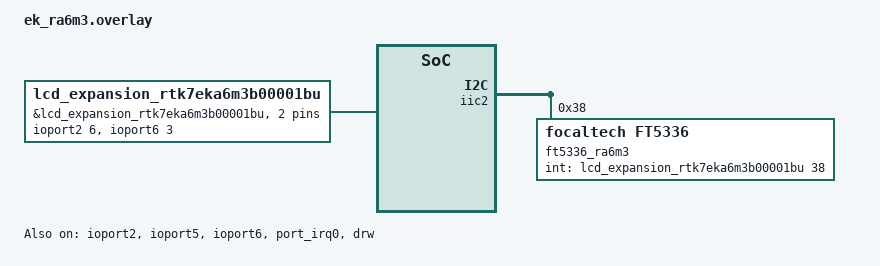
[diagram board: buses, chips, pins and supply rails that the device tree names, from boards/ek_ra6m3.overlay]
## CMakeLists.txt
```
# Copyright (c) 2026 LVGL
# SPDX-License-Identifier: Apache-2.0

cmake_minimum_required(VERSION 3.20.0)

# Per-board defaults: boards/<board>.cmake sets variables (e.g. SHIELD) not already provided.
# Normalize the raw BOARD spec by stripping @<revision> and replacing / with _ to match the
# naming convention used for boards/<board>.conf and boards/<board>.overlay.
string(REGEX REPLACE "@[^/]*" "" _board_norm "${BOARD}")
string(REPLACE "/" "_" _board_norm "${_board_norm}")
include("${CMAKE_CURRENT_SOURCE_DIR}/boards/${_board_norm}.cmake" OPTIONAL)
unset(_board_norm)

# Board overlay loading order:
#   1. boards/pre-shield-overlays/<board>.overlay — via BOARD_EXTENSION_DIRS, applied before shield overlays
#   2. shield overlay                              — applied by west (--shield flag)
#   3. boards/<board>.overlay                      — auto-discovered by Zephyr, applied after shield overlays
list(APPEND BOARD_EXTENSION_DIRS ${CMAKE_CURRENT_SOURCE_DIR}/boards/pre-shield-overlays)

find_package(Zephyr REQUIRED HINTS $ENV{ZEPHYR_BASE})
project(lvgl_application)

set(LVGL_DIR ${ZEPHYR_LVGL_MODULE_DIR})

FILE(GLOB app_sources src/*.c)
target_sources(app PRIVATE
    ${app_sources}
    ${LVGL_DIR}/demos/lv_demos.c
)

target_sources_ifdef(CONFIG_LV_USE_TEST_SCREENSHOT_COMPARE app PRIVATE tests/screenshot.c)

# lv_fs_posix.c uses DT_DIR (a GNU/BSD extension). Zephyr sets
# -D_POSIX_C_SOURCE=200809L which hides it; _GNU_SOURCE restores it.
zephyr_compile_definitions_ifdef(CONFIG_LV_USE_FS_POSIX _GNU_SOURCE)

target_include_directories(app PRIVATE
    ${LVGL_DIR}/demos/
)

target_sources_ifdef(CONFIG_LV_USE_DEMO_WIDGETS app PRIVATE
    ${LVGL_DIR}/demos/widgets/assets/img_clothes.c
    ${LVGL_DIR}/demos/widgets/assets/img_demo_widgets_avatar.c
    ${LVGL_DIR}/demos/widgets/assets/img_demo_widgets_needle.c
    ${LVGL_DIR}/demos/widgets/assets/img_lvgl_logo.c
    ${LVGL_DIR}/demos/widgets/lv_demo_widgets.c
    ${LVGL_DIR}/demos/widgets/lv_demo_widgets_analytics.c
    ${LVGL_DIR}/demos/widgets/lv_demo_widgets_components.c
    ${LVGL_DIR}/demos/widgets/lv_demo_widgets_profile.c
    ${LVGL_DIR}/demos/widgets/lv_demo_widgets_shop.c
)
```

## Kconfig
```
# Copyright (c) 2026 LVGL
# SPDX-License-Identifier: Apache-2.0

mainmenu "LVGL Zephyr starter application"

config APP_INTRO_DURATION_MS
	int "Intro screen duration in milliseconds"
	default 5000

source "Kconfig.zephyr"
```

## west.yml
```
# Copyright (c) 2026 LVGL
# SPDX-License-Identifier: Apache-2.0
#
# West manifest for the LVGL Zephyr starter project.
#
# This repository is both the west manifest repository and the application:
# cloning it and running `west init -l` + `west update` fetches Zephyr and
# every module needed to build. Everything auto-downloaded is kept under
# deps/, cleanly separated from the code you edit:
#
#   workspace/
#   ├── lv_zephyr/        # this repository (the application) — your code
#   └── deps/             # auto-downloaded by west — don't edit
#       ├── zephyr/       # Zephyr RTOS
#       ├── modules/      # LVGL and vendor HALs
#       └── bootloader/   # MCUboot (used by ESP32 targets)
#
# See README.md for the step-by-step instructions.

manifest:
  version: 0.13

  remotes:
    - name: zephyrproject-rtos
      url-base: https://github.com/zephyrproject-rtos

  projects:
    - name: zephyr
      remote: zephyrproject-rtos
      revision: v4.4.0
      import:
        # Keep Zephyr and all modules grouped under deps/ in the workspace.
        path-prefix: deps
        # Only fetch the modules needed by the supported boards. Add more
        # entries here if you target a board whose HAL is not in this list
        # (module names are listed in deps/zephyr/west.yml).
        name-allowlist:
          - lvgl
          - cmsis            # required by most Arm-based HALs
          - cmsis_6
          - hal_espressif    # M5Stack Core2 (ESP32)
          - hal_nxp          # FRDM-MCXN947, MIMXRT1170-EVK
          - hal_renesas      # EK-RA8D1
          - hal_stm32        # STM32U5G9J-DK2
          - mbedtls          # required by MCUboot (ESP32 builds)
          - mcuboot          # ESP32 builds boot via MCUboot (sysbuild)

  self:
    path: lv_zephyr
```

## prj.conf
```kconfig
CONFIG_MAIN_STACK_SIZE=16384
CONFIG_LOG=y
CONFIG_SHELL=y

CONFIG_LVGL=y
CONFIG_LV_Z_MEM_POOL_SIZE=49152
CONFIG_LV_Z_SHELL=y
CONFIG_LV_USE_MONKEY=y

CONFIG_DISPLAY=y
CONFIG_INPUT=y
CONFIG_LV_Z_POINTER_INPUT_MSGQ_COUNT=20

CONFIG_LV_USE_SYSMON=y
CONFIG_LV_USE_PERF_MONITOR=y

CONFIG_LV_FONT_MONTSERRAT_12=y
CONFIG_LV_FONT_MONTSERRAT_14=y
CONFIG_LV_FONT_MONTSERRAT_16=y
CONFIG_LV_FONT_MONTSERRAT_18=y
CONFIG_LV_FONT_MONTSERRAT_24=y
CONFIG_LV_USE_DEMO_WIDGETS=y

# Benchmark Demo
CONFIG_LV_USE_FONT_COMPRESSED=y
```

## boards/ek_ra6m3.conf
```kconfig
CONFIG_LV_USE_DRAW_DAVE2D=y
CONFIG_LV_Z_MEM_POOL_SIZE=65536
CONFIG_LV_DRAW_LAYER_SIMPLE_BUF_SIZE=32768
CONFIG_LV_ATTRIBUTE_MEM_ALIGN_SIZE=64
CONFIG_DMA=y

# RA6M3: SDRAM bus pins (P101-P107, P111-P115, P301-P303, P608-P610) overlap
# with GLCDC LCD_DATA pins. SDRAM and GLCDC cannot be active simultaneously.
# Frame buffer and LVGL VDB stay in internal SRAM (640KB total).
#
# Memory budget: 1×255 KB (FB) + 2×26 KB (VDB) + ~101 KB (other) ≈ 408 KB
#   (frees ≈ 215 KB vs the previous FB_NUM=0 double-VDB setup).
#
# FB_NUM=1: one 255 KB driver-managed framebuffer that GLCDC always reads from.
#   Enables partial writes so LVGL can update individual dirty regions without
#   redrawing the full screen.  No vsync buffer-swap in steady state; the GLCDC
#   reads fb_background in-place while the flush thread writes to it — possible
#   tearing on large rapid updates, acceptable for mostly-static UIs.
# FULL_REFRESH=n + VDB_SIZE=10: LVGL only redraws dirty regions (at most ~27
#   rows per strip).  Each strip is blitted to the framebuffer via
#   display_write().  VDB_SIZE strictly < 100 ensures every write is partial
#   (height < 272) so the full-screen branch in the driver is never taken, the
#   GLCDC framebuffer pointer never changes, and fb_background stays live.
# DOUBLE_VDB: two small VDBs let the flush thread blit one strip while LVGL
#   renders the next in parallel.
# VDB_ALIGN=64: LVGL draw operations may use DMA; 64-byte source alignment is
#   required.  Note: fb_background is only __aligned(8) in the driver — if the
#   linker does not place it at a 64-byte boundary the image will shift
#   horizontally by (fb_background % 64) / 2 pixels.  Verify with:
#     nm -S build/zephyr/zephyr.elf | grep fb_background
CONFIG_RENESAS_RA_GLCDC_FB_NUM=1
CONFIG_LV_COLOR_DEPTH_16=y
CONFIG_LV_Z_FULL_REFRESH=n
CONFIG_LV_Z_VDB_SIZE=10
CONFIG_LV_Z_DOUBLE_VDB=y
CONFIG_LV_Z_VDB_ALIGN=64

# Enable real CPU-load measurement so lv_os_get_idle_percent() returns actual
# idle% instead of always 0.  Without this, the LVGL sysmon calls
# lv_os_get_idle_percent() which unconditionally returns 0 → CPU always 100%.
# CPU_LOAD selects TRACING, resolved to the null backend (tracing_none.c):
# it times idle-thread entry/exit via k_cycle_get_32() — negligible overhead.
CONFIG_CPU_LOAD=y

# Debug console via J-Link RTT (Segger module required).
# Remove or set UART_CONSOLE=y / RTT_CONSOLE=n to switch back to UART.
CONFIG_USE_SEGGER_RTT=y
CONFIG_RTT_CONSOLE=y
CONFIG_UART_CONSOLE=n
```

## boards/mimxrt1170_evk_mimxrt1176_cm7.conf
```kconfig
CONFIG_DMA=y
CONFIG_MCUX_ELCDIF_PXP=y
```

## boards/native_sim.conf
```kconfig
# Copyright (c) 2026 LVGL
# SPDX-License-Identifier: Apache-2.0

CONFIG_LV_COLOR_DEPTH_32=y
```

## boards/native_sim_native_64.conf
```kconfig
# Copyright (c) 2026 LVGL
# SPDX-License-Identifier: Apache-2.0

CONFIG_LV_COLOR_DEPTH_32=y
CONFIG_LV_Z_MEM_POOL_SIZE=81920
```

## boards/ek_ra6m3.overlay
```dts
/*
 * Copyright (c) 2026 LVGL
 * SPDX-License-Identifier: Apache-2.0
 *
 * Board-level DTC overlay for EK-RA6M3 + RTK7EKA6M3B00001BU LCD shield.
 * Zephyr auto-discovers boards/<board>.overlay and applies it after shield
 * overlays, so this file can safely override shield settings and reference
 * nodes the shield defines (lcd_expansion_rtk7eka6m3b00001bu, etc.).
 *
 * Pin assignments:
 *   P206 (ioport2 pin 6) — DISP_INT  (FT5336 interrupt, input pull-up)
 *   P603 (ioport6 pin 3) — DISP_BLEN (backlight enable, output)
 *
 * GLCDC data/control pins (16-bit RGB565 interface):
 *   CLK:    P101   TCON0: P102   TCON1: P103   TCON2: P104
 *   DATA00-07: P106 P107 P600 P601 P602 P610 P609 P608
 *   DATA08-15: P115 P114 P113 P112 P111 P301 P302 P303
 *
 * Touch controller I2C: the FT5336 is on IIC2 (P512/P511), which the board DTS
 * already configures at 400 kHz.  The shield assumes IIC1, so IIC1 and its
 * ft5336 child are explicitly disabled; a new ft5336 node lives under IIC2.
 *
 * P206 maps to port_irq0 on RA6M3; interrupt slot 87 is assigned here.
 */

#include <zephyr/dt-bindings/display/panel.h>

&pinctrl {
	glcdc_default: glcdc_default {
		/* PORT1 and PORT3 data/control pins: CLK, TCON, DATA08-15, DATA00-01 */
		group1 {
			psels = <RA_PSEL(RA_PSEL_GLCDC, 1, 1)>,   /* LCDC_CLK   P101 */
				<RA_PSEL(RA_PSEL_GLCDC, 1, 2)>,   /* LCDC_TCON0 P102 */
				<RA_PSEL(RA_PSEL_GLCDC, 1, 3)>,   /* LCDC_TCON1 P103 */
				<RA_PSEL(RA_PSEL_GLCDC, 1, 4)>,   /* LCDC_TCON2 P104 */
				<RA_PSEL(RA_PSEL_GLCDC, 1, 6)>,   /* LCDC_DATA00 P106 */
				<RA_PSEL(RA_PSEL_GLCDC, 1, 7)>,   /* LCDC_DATA01 P107 */
				<RA_PSEL(RA_PSEL_GLCDC, 1, 15)>,  /* LCDC_DATA08 P115 */
				<RA_PSEL(RA_PSEL_GLCDC, 1, 14)>,  /* LCDC_DATA09 P114 */
				<RA_PSEL(RA_PSEL_GLCDC, 1, 13)>,  /* LCDC_DATA10 P113 */
				<RA_PSEL(RA_PSEL_GLCDC, 1, 12)>,  /* LCDC_DATA11 P112 */
				<RA_PSEL(RA_PSEL_GLCDC, 1, 11)>,  /* LCDC_DATA12 P111 */
				<RA_PSEL(RA_PSEL_GLCDC, 3, 1)>,   /* LCDC_DATA13 P301 */
				<RA_PSEL(RA_PSEL_GLCDC, 3, 2)>,   /* LCDC_DATA14 P302 */
				<RA_PSEL(RA_PSEL_GLCDC, 3, 3)>;   /* LCDC_DATA15 P303 */
			drive-strength = "high";
		};
		/* PORT6 data pins: DATA02-07 (blue and green LSBs) */
		group2 {
			psels = <RA_PSEL(RA_PSEL_GLCDC, 6, 0)>,   /* LCDC_DATA02 P600 */
				<RA_PSEL(RA_PSEL_GLCDC, 6, 1)>,   /* LCDC_DATA03 P601 */
				<RA_PSEL(RA_PSEL_GLCDC, 6, 2)>,   /* LCDC_DATA04 P602 */
				<RA_PSEL(RA_PSEL_GLCDC, 6, 10)>,  /* LCDC_DATA05 P610 */
				<RA_PSEL(RA_PSEL_GLCDC, 6, 9)>,   /* LCDC_DATA06 P609 */
				<RA_PSEL(RA_PSEL_GLCDC, 6, 8)>;   /* LCDC_DATA07 P608 */
			drive-strength = "high";
		};
	};
};

&zephyr_lcdif {
	pinctrl-0 = <&glcdc_default>;
	pinctrl-names = "default";
	output-pin-hsync = "TCON_PIN_1";
	output-pin-vsync = "TCON_PIN_0";
	output-pin-de = "TCON_PIN_2";
	/*
	 * EK-RA6M3 routes only DATA00-DATA15 (16 lines, RGB565).
	 * Override the shield's RGB888 setting; output format must match
	 * the physical wiring or the red channel (DATA16-23) is unconnected.
	 *
	 * Pixel clock: PLL = 240 MHz, output-clock-divisor = 32
	 * → 240/32 = 7.5 MHz → 525×316 ≈ 45 fps on 480×272 (panel spec: 5–12 MHz typ 9 MHz).
	 */
	output-pixel-format = <PANEL_PIXEL_FORMAT_RGB_565>;
	output-clock-divisor = <32>;
	/*
	 * Place the internal framebuffer at a 64-byte aligned SRAM address via
	 * the ext-ram hook.  The GLCDC FLM2 register masks the low 6 address
	 * bits, so fb_background0 must start on a 64-byte boundary or the
	 * display wraps horizontally by (addr % 64) / 2 pixels.
	 * 0x20040400 = SRAM_end(0x20080000) - FB_size(0x3FC00), mod 64 = 0.
	 * The FRAME_BUFFER_SECTION macro places fb_background0 as the sole item
	 * in the GLCDC_FB linker section, which starts at 0x20040400.
	 */
	ext-ram = <&fb_region>;
};

&ioport2 {
	status = "okay";
};

&ioport5 {
	status = "okay";
};

&ioport6 {
	status = "okay";
};

&lcd_expansion_rtk7eka6m3b00001bu {
	#gpio-cells = <2>;
	gpio-map-mask = <0xffffffff 0xffffffc0>;
	gpio-map-pass-thru = <0 0x3f>;
	gpio-map = <38 0 &ioport2 6 0>,  /* DISP_INT  P206 */
		   <39 0 &ioport6 3 0>;  /* DISP_BLEN P603 */
};

/* The shield enables IIC1 and places ft5336 there, but on EK-RA6M3 the LCD
 * expansion connector's I2C lines are on P512/P511 — which is IIC2.
 * IIC2 is already configured in the board DTS (ek_ra6m3.dts).
 * Disable IIC1 and its ft5336 child; add a new ft5336 node under IIC2. */
&iic1 {
	status = "disabled";
	#address-cells = <1>;
	#size-cells = <0>;
};

&ft5336_rtk7eka6m3b00001bu {
	status = "disabled";
};

&iic2 {
	ft5336_ra6m3: ft5336@38 {
		compatible = "focaltech,ft5336";
		reg = <0x38>;
		int-gpios = <&lcd_expansion_rtk7eka6m3b00001bu 38 GPIO_ACTIVE_HIGH>;
		swapped-x-y;
	};
};

/* P206 (ioport2 pin 6) maps to port_irq0 on RA6M3 (r7fa6m3ax.dtsi:405).
 * Without this the GPIO driver returns -EWOULDBLOCK and FT5336 fails to init. */
&port_irq0 {
	interrupts = <87 1>;
	status = "okay";
};

/ {
	soc {
		drw: drw@400e4000 {
			compatible = "renesas,ra-drw";
			reg = <0x400e4000 0x104>;
			interrupts = <95 12>;
			interrupt-names = "drw";
			status = "okay";
		};
	};
};

/ {
	chosen {
		zephyr,touch = &ft5336_ra6m3;
	};

	/*
	 * Named SRAM region for the GLCDC internal framebuffer.
	 * Address 0x20040400: last 255 KB of the 640 KB SRAM block
	 * (0x1FFE0000..0x20080000), chosen so the start is 64-byte aligned
	 * (GLCDC FLM2 register requirement) and leaves ~385 KB for BSS/heap.
	 * Referenced by zephyr_lcdif ext-ram above; FRAME_BUFFER_SECTION places
	 * fb_background0 here via Z_GENERIC_SECTION("GLCDC_FB").
	 */
	fb_region: fb_region@20040400 {
		compatible = "zephyr,memory-region";
		reg = <0x20040400 0x3fc00>;
		zephyr,memory-region = "GLCDC_FB";
	};
};
```

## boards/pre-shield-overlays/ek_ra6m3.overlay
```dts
/*
 * Copyright (c) 2026 LVGL
 * SPDX-License-Identifier: Apache-2.0
 *
 * Board extension overlay for EK-RA6M3 + RTK7EKA6M3B00001BU LCD shield.
 * Applied via BOARD_EXTENSION_DIRS *before* the shield overlay so that the
 * 'zephyr_lcdif' alias exists when rtk7eka6m3b00001bu.overlay references it.
 *
 * lcdclk: not present in r7fa6m3ax.dtsi; added as a pclkblock child so
 * "clocks = <&lcdclk MSTPC 4>" in the GLCDC node resolves.
 * MSTPCRC bit 4 is the GLCDC module-stop bit for RA6M3
 * (BSP_MSTP_REG_FSP_IP_GLCDC / BSP_MSTP_BIT_FSP_IP_GLCDC(0) in FSP).
 *
 * Interrupt slot 71 reserved for GLCDC line-detect.
 */

&pclkblock {
	lcdclk: lcdclk {
		compatible = "renesas,ra-cgc-pclk";
		div = <2>;
		#clock-cells = <2>;
		status = "okay";
	};
};

/ {
	soc {
		lcdif: display-controller@400e0000 {
			compatible = "renesas,ra-glcdc";
			reg = <0x400e0000 0x1454>;
			clocks = <&lcdclk MSTPC 4>;
			interrupts = <71 1>;
			interrupt-names = "line";
			status = "disabled";
		};
	};
};

zephyr_lcdif: &lcdif {};
```

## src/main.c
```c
/*
 * Copyright (c) 2026 LVGL
 *
 * SPDX-License-Identifier: Apache-2.0
 */

#include <zephyr/kernel.h>
#include <zephyr/drivers/display.h>
#include <lvgl.h>
#include <lvgl_mem.h>
#include <lvgl_zephyr.h>
#include <lv_demos.h>
#include <stdio.h>

#include "intro.h"

#define LOG_LEVEL CONFIG_LOG_DEFAULT_LEVEL
#include <zephyr/logging/log.h>
LOG_MODULE_REGISTER(app);

#define INTRO_DURATION_MS CONFIG_APP_INTRO_DURATION_MS

/* Creates the main application screen and populates it without loading it. */
static lv_obj_t *create_ui(void)
{
	lv_obj_t *scr = lv_obj_create(NULL);
	/* Replace this demo with your own UI code */
	lv_demo_widgets_with_args(&(lv_demo_args_t){ .parent = scr });
	return scr;
}

/* Switches to the demo screen stored in timer user_data. */
static void switch_timer_cb(lv_timer_t *timer)
{
	lv_obj_t *demo_scr = lv_timer_get_user_data(timer);
	lv_timer_delete(timer);
	lv_screen_load(demo_scr);
}

int main(void)
{
	const struct device *display_dev;
	int ret;

	display_dev = DEVICE_DT_GET(DT_CHOSEN(zephyr_display));
	if (!device_is_ready(display_dev)) {
		LOG_ERR("Display device not ready, aborting");
		return 0;
	}

	/* LVGL is initialized by the Zephyr LVGL module before main() runs.
	 * The lock protects LVGL state from concurrent access, e.g. by the
	 * shell or a rendering workqueue.
	 */
	lvgl_lock();
	lv_obj_t *demo_scr = create_ui();
	lv_obj_t *intro_scr = intro_start();
	lv_screen_load(intro_scr);
	lv_timer_create(switch_timer_cb, INTRO_DURATION_MS, demo_scr);
#ifndef CONFIG_LV_Z_RUN_LVGL_ON_WORKQUEUE
	lv_timer_handler();
#endif
	lvgl_unlock();

	ret = display_blanking_off(display_dev);
	if (ret < 0 && ret != -ENOSYS) {
		LOG_ERR("Failed to turn blanking off (error %d)", ret);
		return 0;
	}

#ifdef CONFIG_LV_Z_MEM_POOL_SYS_HEAP
	lvgl_print_heap_info(false);
#else
	printf("lvgl in malloc mode\n");
#endif

	while (1) {
#ifdef CONFIG_LV_Z_RUN_LVGL_ON_WORKQUEUE
		/* LVGL is driven by a dedicated workqueue */
		k_msleep(10);
#else
		uint32_t sleep_ms;

		lvgl_lock();
		sleep_ms = lv_timer_handler();
		lvgl_unlock();

		k_msleep(MIN(sleep_ms, 10));
#endif
	}

	return 0;
}
```

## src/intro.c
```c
/*
 * Copyright (c) 2026 LVGL
 *
 * SPDX-License-Identifier: Apache-2.0
 */

#include "intro.h"
#include <lvgl.h>

#define TIMER_PERIOD_MS   16    /* ~60 fps */
#define VEL_X             4     /* pixels per tick */
#define VEL_Y             3

static lv_obj_t  *s_btn;
static int32_t    s_x, s_y;
static int32_t    s_vx, s_vy;
static lv_timer_t *s_timer;

static void bounce_cb(lv_timer_t *timer)
{
	lv_display_t *disp = lv_display_get_default();
	int32_t scr_w = lv_display_get_horizontal_resolution(disp);
	int32_t scr_h = lv_display_get_vertical_resolution(disp);
	int32_t btn_w = lv_obj_get_width(s_btn);
	int32_t btn_h = lv_obj_get_height(s_btn);

	s_x += s_vx;
	s_y += s_vy;

	if (s_x <= 0)              { s_x = 0;             s_vx =  VEL_X; }
	if (s_y <= 0)              { s_y = 0;             s_vy =  VEL_Y; }
	if (s_x + btn_w >= scr_w) { s_x = scr_w - btn_w; s_vx = -VEL_X; }
	if (s_y + btn_h >= scr_h) { s_y = scr_h - btn_h; s_vy = -VEL_Y; }

	lv_obj_set_pos(s_btn, s_x, s_y);
}

/* Center the button and start the bounce timer once the screen is visible. */
static void on_scr_loaded(lv_event_t *e)
{
	lv_obj_t *scr = lv_event_get_target(e);

	lv_obj_update_layout(scr);
	lv_display_t *disp = lv_display_get_default();
	s_x = (lv_display_get_horizontal_resolution(disp) - lv_obj_get_width(s_btn)) / 2;
	s_y = (lv_display_get_vertical_resolution(disp) - lv_obj_get_height(s_btn)) / 2;
	lv_obj_set_pos(s_btn, s_x, s_y);

	s_timer = lv_timer_create(bounce_cb, TIMER_PERIOD_MS, NULL);
}

/* Stop the bounce timer when the intro screen is no longer active. */
static void on_scr_unloaded(lv_event_t *e)
{
	if (s_timer) {
		lv_timer_delete(s_timer);
		s_timer = NULL;
	}
}

lv_obj_t *intro_start(void)
{
	s_vx = VEL_X;
	s_vy = VEL_Y;

	lv_obj_t *scr = lv_obj_create(NULL);
	lv_obj_add_event_cb(scr, on_scr_loaded,   LV_EVENT_SCREEN_LOADED,   NULL);
	lv_obj_add_event_cb(scr, on_scr_unloaded, LV_EVENT_SCREEN_UNLOADED, NULL);

	lv_obj_set_style_bg_color(scr, lv_color_hex(0x1a1a2e), 0);

	s_btn = lv_button_create(scr);
	lv_label_set_text(lv_label_create(s_btn), "LVGL <3 Zephyr");

	return scr;
}
```

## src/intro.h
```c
/*
 * Copyright (c) 2026 LVGL
 *
 * SPDX-License-Identifier: Apache-2.0
 */

#ifndef APP_INTRO_H
#define APP_INTRO_H

#include <lvgl.h>

/**
 * Build the intro screen with a "LVGL <3 Zephyr" button. Does NOT load the
 * screen — the caller must call lv_screen_load() to make it visible. The
 * bounce animation starts on LV_EVENT_SCREEN_LOADED and stops automatically
 * on LV_EVENT_SCREEN_UNLOADED. Must be called with the LVGL lock held.
 */
lv_obj_t *intro_start(void);

#endif /* APP_INTRO_H */
```

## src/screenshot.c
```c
/*
 * Copyright (c) 2026 LVGL
 *
 * SPDX-License-Identifier: Apache-2.0
 */

#ifdef CONFIG_APP_SCREENSHOT

#include <zephyr/kernel.h>
#include <lvgl.h>
#include <stdio.h>
#include <stdlib.h>
#include <stdint.h>

#include "screenshot.h"

#define SCREENSHOT_PATH       "screenshot.bmp"
/* Give the UI time to build up before watching for idle */
#define MIN_UPTIME_MS         2000
/* Capture even if animations never stop (avoids hanging CI) */
#define MAX_UPTIME_MS         15000
/* Handler iterations without running animations before capturing */
#define SETTLE_ITERATIONS     50

static int write_bmp(const char *path, const lv_draw_buf_t *img)
{
	/* 24-bit uncompressed BMP; LVGL RGB888 is B,G,R in memory which is
	 * exactly the BMP pixel order, rows written bottom-up.
	 */
	const uint32_t w = img->header.w;
	const uint32_t h = img->header.h;
	const uint32_t stride = img->header.stride;
	const uint32_t row_size = ((w * 3u) + 3u) & ~3u;
	const uint32_t data_size = row_size * h;
	const uint32_t file_size = 54u + data_size;
	const uint8_t pad[3] = {0};
	uint8_t header[54] = {
		'B', 'M',
		file_size & 0xff, (file_size >> 8) & 0xff,
		(file_size >> 16) & 0xff, (file_size >> 24) & 0xff,
		0, 0, 0, 0,
		54, 0, 0, 0,           /* pixel data offset */
		40, 0, 0, 0,           /* BITMAPINFOHEADER size */
		w & 0xff, (w >> 8) & 0xff, (w >> 16) & 0xff, (w >> 24) & 0xff,
		h & 0xff, (h >> 8) & 0xff, (h >> 16) & 0xff, (h >> 24) & 0xff,
		1, 0,                  /* planes */
		24, 0,                 /* bits per pixel */
		/* remaining fields (compression, sizes, palette) stay zero */
	};

	FILE *f = fopen(path, "wb");

	if (f == NULL) {
		return -1;
	}
	fwrite(header, 1, sizeof(header), f);
	for (int32_t y = (int32_t)h - 1; y >= 0; y--) {
		fwrite(img->data + (uint32_t)y * stride, 1, w * 3u, f);
		fwrite(pad, 1, row_size - w * 3u, f);
	}
	fclose(f);
	return 0;
}

void app_screenshot_poll(void)
{
	static unsigned int settled;
	const int64_t uptime = k_uptime_get();

	if (uptime < MIN_UPTIME_MS) {
		return;
	}
	if (lv_anim_count_running() > 0 && uptime < MAX_UPTIME_MS) {
		settled = 0;
		return;
	}
	if (++settled < SETTLE_ITERATIONS && uptime < MAX_UPTIME_MS) {
		return;
	}

	lv_draw_buf_t *img = lv_snapshot_take(lv_screen_active(), LV_COLOR_FORMAT_RGB888);

	if (img == NULL) {
		fprintf(stderr, "screenshot: lv_snapshot_take() failed\n");
		exit(1);
	}
	if (write_bmp(SCREENSHOT_PATH, img) != 0) {
		fprintf(stderr, "screenshot: cannot write %s\n", SCREENSHOT_PATH);
		exit(1);
	}
	printf("screenshot saved to %s\n", SCREENSHOT_PATH);
	exit(0);
}

#endif /* CONFIG_APP_SCREENSHOT */
```

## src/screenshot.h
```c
/*
 * Copyright (c) 2026 LVGL
 *
 * SPDX-License-Identifier: Apache-2.0
 */

#ifndef APP_SCREENSHOT_H
#define APP_SCREENSHOT_H

/**
 * Call periodically from the LVGL handler loop (with the LVGL lock held).
 * Once the UI has settled (no running animations), takes a screenshot of
 * the active screen, writes it to screenshot.bmp and exits the process.
 */
void app_screenshot_poll(void);

#endif /* APP_SCREENSHOT_H */
```
